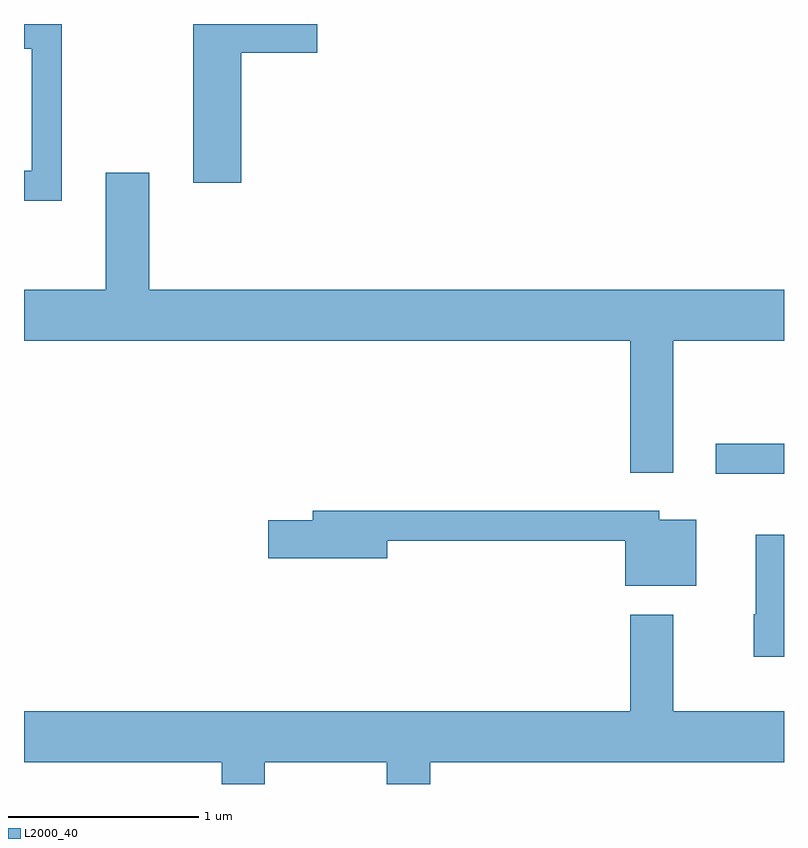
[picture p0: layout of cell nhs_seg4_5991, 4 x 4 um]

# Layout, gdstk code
import gdstk
lib = gdstk.Library(unit=1e-6, precision=1e-09)
def R(c, l, rs):  # rectangles x0, y0, x1, y1
    for r in rs: c.add(gdstk.rectangle(r[:2], r[2:], *l))
def P(c, l, *ps):  # polygons
    for p in ps: c.add(gdstk.Polygon(p, *l))
L2000_40 = (2000, 40)

nhs_seg4_5991 = lib.new_cell('nhs_seg4_5991')
R(nhs_seg4_5991, L2000_40, [(365.253,1269.616,365.611,1269.774)])
P(nhs_seg4_5991, L2000_40, [(361.809,1271.982),(361.611,1271.982),(361.611,1271.851),(361.651,1271.851),(361.651,1271.209),(361.611,1271.209),(361.611,1271.051),(361.809,1271.051)],
  [(362.754,1271.831),(363.154,1271.831),(363.154,1271.982),(362.501,1271.982),(362.501,1271.146),(362.754,1271.146)],
  [(365.029,1270.316),(365.611,1270.316),(365.611,1270.584),(362.269,1270.584),(362.269,1271.199),(362.041,1271.199),(362.041,1270.584),(361.611,1270.584),(361.611,1270.316),(364.801,1270.316),(364.801,1269.621),(365.029,1269.621)],
  [(365.149,1269.374),(364.954,1269.374),(364.954,1269.419),(363.131,1269.419),(363.131,1269.369),(362.896,1269.369),(362.896,1269.171),(363.524,1269.171),(363.524,1269.261),(364.776,1269.261),(364.776,1269.026),(365.149,1269.026)],
  [(365.611,1269.294),(365.461,1269.294),(365.461,1268.875),(365.451,1268.875),(365.451,1268.651),(365.611,1268.651)],
  [(362.879,1268.096),(363.521,1268.096),(363.521,1267.982),(363.749,1267.982),(363.749,1268.096),(365.611,1268.096),(365.611,1268.364),(365.029,1268.364),(365.029,1268.874),(364.801,1268.874),(364.801,1268.364),(361.611,1268.364),(361.611,1268.096),(362.651,1268.096),(362.651,1267.982),(362.879,1267.982)])

lib.write_gds('nhs_seg4_5991.gds')
